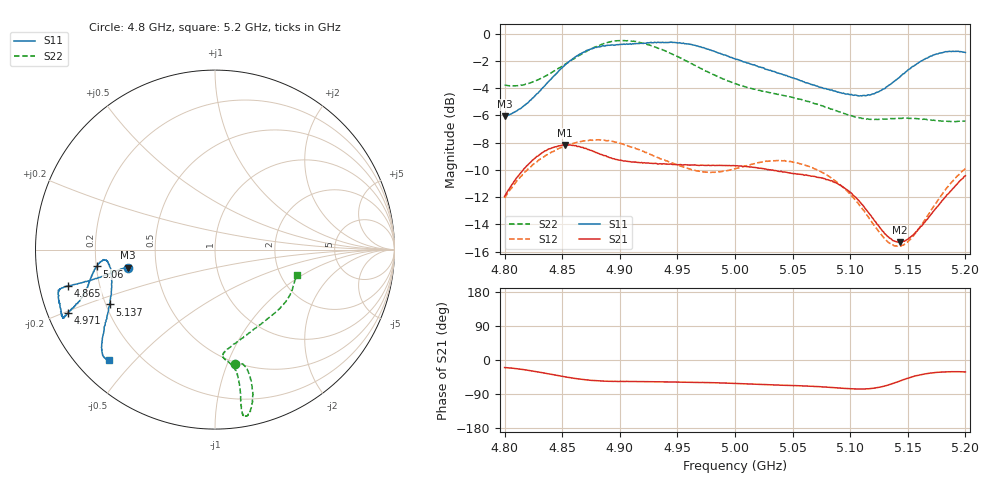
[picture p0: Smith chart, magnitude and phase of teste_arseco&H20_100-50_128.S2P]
! Network Analyzer HP8722D
! Hewlett-Packard
! Data name: Linha & Wilkinson
! Saver's name: Rodrigo Anjos
! Comments: Teste da utilização de aquisição
! continua pelo VNA HP8722D
! Time and date: 6/5/2025 13:38
!  Frequency  S11  S21  S12  S22
# HZ  S  MA R 50
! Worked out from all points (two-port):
!   401 points, 4.8 GHz to 5.2 GHz, reference 50 ohm
!   highest |S21| = -8.16 dB at 4.852 GHz (marker M1); lowest = -15.3 dB at 5.143 GHz (marker M2)
!   |S21| within 3 dB of the highest: 4.806 GHz to 5.092 GHz (286.4 MHz wide, 5.79 % of centre); 5.191409 GHz to end of sweep
!   lowest |S11| = -6.1 dB at 4.8 GHz (marker M3), VSWR 2.98, Z = 16.9 - j4.54 ohm
!   |S11| at or under -10 dB: nowhere
!   |S22| runs from -6.5 to -0.5 dB; largest |S21 - S12| = 0.62
!   S11 on the Smith chart (normalised r, x): 4.8 GHz: 0.34, -0.09; 4.865 GHz: 0.09, -0.12; 4.971 GHz: 0.06, -0.21; 5.06 GHz: 0.20, -0.07; 5.137 GHz: 0.21, -0.23; 5.2 GHz: 0.09, -0.42
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4.8e9  0.4974 -168.3  0.2529 -19.9  0.2494 -141.1  0.6481 -80.3
4.826e9  0.5891 -167.4  0.348 -30.0  0.3337 -144.8  0.6691 -75.7
4.852e9  0.7648 -166.0  0.3906 -44.2  0.3862 -149.6  0.7694 -74.6
4.865e9  0.8409 -166.1  0.3848 -50.1  0.4003 -151.9  0.8338 -75.3
4.867e9  0.8482 -166.1  0.3823 -51.1  0.4023 -152.3  0.8431 -75.6
4.88e9  0.8902 -165.7  0.3656 -54.8  0.4077 -154.4  0.8987 -76.8
4.899e9  0.9114 -163.1  0.3434 -56.7  0.397 -156.8  0.9427 -79.2
4.934e9  0.9287 -156.7  0.3326 -57.7  0.3497 -155.8  0.8823 -80.6
4.971e9  0.8911 -156.6  0.3287 -59.4  0.3117 -146.6  0.7438 -79.7
5e9  0.8075 -159.3  0.3273 -61.9  0.3193 -137.4  0.6555 -81.3
5.034e9  0.7267 -165.5  0.3144 -66.0  0.3418 -134.5  0.6027 -85.7
5.06e9  0.6654 -171.9  0.3019 -68.4  0.3295 -136.3  0.5688 -84.3
5.067e9  0.6501 -173.2  0.3 -69.3  0.3221 -136.9  0.5581 -82.6
5.087e9  0.6152 -174.5  0.2839 -73.4  0.2882 -138.7  0.5229 -74.9
5.103e9  0.594 -171.5  0.2542 -76.3  0.249 -138.9  0.4964 -65.0
5.116e9  0.5967 -165.6  0.22 -75.9  0.2116 -135.6  0.4853 -55.7
5.134e9  0.6485 -154.3  0.1779 -65.0  0.1702 -120.5  0.4867 -43.3
5.137e9  0.662 -152.5  0.174 -62.0  0.1678 -116.6  0.488 -41.5
5.143e9  0.6927 -149.5  0.1714 -55.7  0.166 -108.6  0.4883 -38.0
5.154e9  0.7578 -144.6  0.1815 -44.3  0.1797 -94.9  0.4882 -32.3
5.173e9  0.837 -139.0  0.2245 -33.3  0.2339 -80.9  0.4807 -24.3
5.2e9  0.8528 -133.9  0.301 -31.6  0.3199 -77.1  0.4776 -17.5
